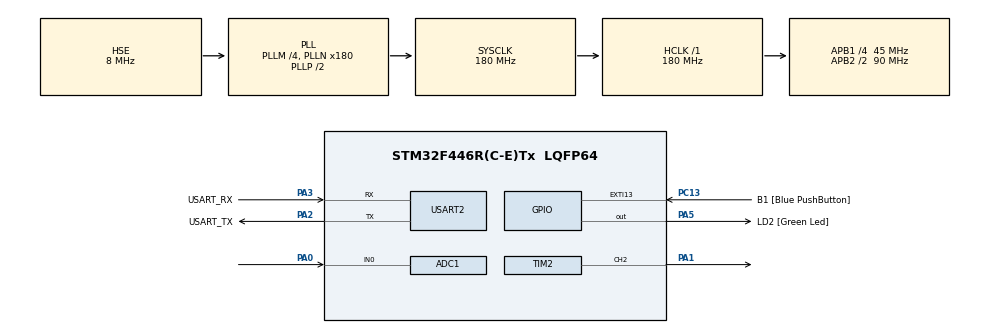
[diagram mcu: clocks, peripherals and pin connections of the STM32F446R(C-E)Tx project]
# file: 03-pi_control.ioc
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ADC1.Channel-0\#ChannelRegularConversion=ADC_CHANNEL_0
ADC1.ClockPrescaler=ADC_CLOCK_SYNC_PCLK_DIV8
ADC1.ContinuousConvMode=ENABLE
ADC1.NbrOfConversionFlag=1
ADC1.Rank-0\#ChannelRegularConversion=1
ADC1.SamplingTime-0\#ChannelRegularConversion=ADC_SAMPLETIME_3CYCLES
ADC1.master=1
Dma.Request0=USART2_TX
Dma.USART2_TX.0.Direction=DMA_MEMORY_TO_PERIPH
Dma.USART2_TX.0.FIFOMode=DMA_FIFOMODE_DISABLE
Dma.USART2_TX.0.Instance=DMA1_Stream6
Dma.USART2_TX.0.MemDataAlignment=DMA_MDATAALIGN_BYTE
Dma.USART2_TX.0.MemInc=DMA_MINC_ENABLE
Dma.USART2_TX.0.Mode=DMA_NORMAL
Dma.USART2_TX.0.PeriphDataAlignment=DMA_PDATAALIGN_BYTE
Dma.USART2_TX.0.PeriphInc=DMA_PINC_DISABLE
Dma.USART2_TX.0.Priority=DMA_PRIORITY_LOW
Mcu.Family=STM32F4
Mcu.Name=STM32F446R(C-E)Tx
Mcu.Package=LQFP64
NVIC.DMA1_Stream6_IRQn=true\:0\:0\:false\:false\:true\:false\:true\:true
NVIC.PriorityGroup=NVIC_PRIORITYGROUP_0
NVIC.USART2_IRQn=true\:0\:0\:false\:false\:true\:true\:true\:true
PA0-WKUP.Signal=ADCx_IN0
PA1.Signal=S_TIM2_CH2
PA13.GPIO_Label=TMS
PA13.Mode=Serial_Wire
PA13.Signal=SYS_JTMS-SWDIO
PA14.GPIO_Label=TCK
PA14.Mode=Serial_Wire
PA14.Signal=SYS_JTCK-SWCLK
PA2.GPIO_Label=USART_TX
PA2.Mode=Asynchronous
PA2.Signal=USART2_TX
PA3.GPIO_Label=USART_RX
PA3.Mode=Asynchronous
PA3.Signal=USART2_RX
PA5.GPIO_Label=LD2 [Green Led]
PA5.Signal=GPIO_Output
PB3.GPIO_Label=SWO
PB3.Signal=SYS_JTDO-SWO
PC13.GPIO_Label=B1 [Blue PushButton]
PC13.GPIO_ModeDefaultEXTI=GPIO_MODE_IT_FALLING
PC13.Signal=GPXTI13
PC14-OSC32_IN.Signal=RCC_OSC32_IN
PC15-OSC32_OUT.Signal=RCC_OSC32_OUT
PH0-OSC_IN.Mode=HSE-External-Oscillator
PH0-OSC_IN.Signal=RCC_OSC_IN
PH1-OSC_OUT.Mode=HSE-External-Oscillator
PH1-OSC_OUT.Signal=RCC_OSC_OUT
ProjectManager.HeapSize=0x200
ProjectManager.StackSize=0x400
ProjectManager.TargetToolchain=CMake
RCC.AHBFreq_Value=180000000
RCC.APB1CLKDivider=RCC_HCLK_DIV4
RCC.APB1Freq_Value=45000000
RCC.APB1TimFreq_Value=90000000
RCC.APB2CLKDivider=RCC_HCLK_DIV2
RCC.APB2Freq_Value=90000000
RCC.APB2TimFreq_Value=180000000
RCC.CortexFreq_Value=180000000
RCC.FLatency-AdvancedSettings=FLASH_LATENCY_5
RCC.HCLKFreq_Value=180000000
RCC.HSE_VALUE=8000000
RCC.HSI_VALUE=16000000
RCC.LSE_VALUE=32768
RCC.PLLM=4
RCC.PLLN=180
RCC.PLLSourceVirtual=RCC_PLLSOURCE_HSE
RCC.SYSCLKFreq_VALUE=180000000
RCC.SYSCLKSource=RCC_SYSCLKSOURCE_PLLCLK
RCC.USBFreq_Value=180000000
RCC.VCOOutputFreq_Value=360000000
SH.ADCx_IN0.0=ADC1_IN0,IN0
SH.S_TIM2_CH2.0=TIM2_CH2,PWM Generation2 CH2
TIM2.Channel-PWM\ Generation2\ CH2=TIM_CHANNEL_2
TIM2.Period=100-1
TIM2.Prescaler=90-1
TIM2.Pulse-PWM\ Generation2\ CH2=50
USART2.VirtualMode=VM_ASYNC
board=NUCLEO-F446RE

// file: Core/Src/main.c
/* USER CODE BEGIN Header */
/**
  ******************************************************************************
  * @file           : main.c
  * @brief          : Main program body
  ******************************************************************************
  * @attention
  *
  * Copyright (c) 2025 STMicroelectronics.
  * All rights reserved.
  *
  * This software is licensed under terms that can be found in the LICENSE file
  * in the root directory of this software component.
  * If no LICENSE file comes with this software, it is provided AS-IS.
  *
  ******************************************************************************
  */
/* USER CODE END Header */
#include "main.h"

/* USER CODE BEGIN Includes */
#include "photocell.h"
#include "led_pwm.h"
#include "logger.h"

/* USER CODE END Includes */

ADC_HandleTypeDef hadc1;

TIM_HandleTypeDef htim2;

UART_HandleTypeDef huart2;
DMA_HandleTypeDef hdma_usart2_tx;

void SystemClock_Config(void);
static void MX_GPIO_Init(void);
static void MX_DMA_Init(void);
static void MX_ADC1_Init(void);
static void MX_TIM2_Init(void);
static void MX_USART2_UART_Init(void);

/* USER CODE BEGIN 0 */
photoCell_t photocell_sensor;
LedPwm_t led_pwm = {
    .htim = &htim2,
    .channel = TIM_CHANNEL_2,
    .duty_percent = 0
};

void set_pwm_function(uint8_t brightness) {
    // Example function to set PWM brightness
    LedPwm_setDuty(&led_pwm, brightness);
}

/* USER CODE END 0 */

int main(void)
{

  /* MCU Configuration--------------------------------------------------------*/

  /* Reset of all peripherals, Initializes the Flash interface and the Systick. */
  HAL_Init();

  /* Configure the system clock */
  SystemClock_Config();

  /* Initialize all configured peripherals */
  MX_GPIO_Init();
  MX_DMA_Init();
  MX_ADC1_Init();
  MX_TIM2_Init();
  MX_USART2_UART_Init();
  /* USER CODE BEGIN 2 */

  Log_Init();  // Initialize logging system
  Log_SetLevel(LOG_LEVEL_DEBUG);  // Set log level to DEBUG

  LedPwm_init(&led_pwm, &htim2, TIM_CHANNEL_2);
  LedPwm_start(&led_pwm);
  Log(LOG_LEVEL_INFO, "LED PWM initialized on TIM2 channel 2\n");
  Log(LOG_LEVEL_INFO, "System initialized. Starting photocell calibration...\n");

  photoCell_init(&photocell_sensor, true, 0, 4095);
  photoCell_autoCalibrate(&photocell_sensor, &hadc1, set_pwm_function);
  Log(LOG_LEVEL_INFO, "Photocell initialized and calibrated. Min: %d, Max: %d\n",
      photocell_sensor.min_value, photocell_sensor.max_value);
  Log(LOG_LEVEL_INFO, "Starting main loop...\n");

  /* USER CODE END 2 */

  /* Infinite loop */
  while (1)
  {

    /* USER CODE BEGIN 3 */

    // Set to 25, 50, 75, 100% duty cycle in a loop and log the photocell reading
    for (uint8_t duty = 0; duty <= 100; duty += 25) {
        LedPwm_setDuty(&led_pwm, duty);
        HAL_Delay(500);  // Allow time for LED to stabilize

        uint8_t light_level = readSensor(&photocell_sensor, &hadc1);
        Log(LOG_LEVEL_INFO, "Duty: %d%%, Light Level: %d\n", duty, light_level);
    }

    if (HAL_GPIO_ReadPin(B1_GPIO_Port, B1_Pin) == GPIO_PIN_SET) {
        Log(LOG_LEVEL_INFO, "Button pressed, toggling LED state.\n");
        HAL_GPIO_TogglePin(LD2_GPIO_Port, LD2_Pin);  // Toggle LED state
        HAL_Delay(500);  // Debounce delay
    }
  }
  /* USER CODE END 3 */
}

void SystemClock_Config(void)
{
  RCC_OscInitTypeDef RCC_OscInitStruct = {0};
  RCC_ClkInitTypeDef RCC_ClkInitStruct = {0};

  /** Configure the main internal regulator output voltage
  */
  __HAL_RCC_PWR_CLK_ENABLE();
  __HAL_PWR_VOLTAGESCALING_CONFIG(PWR_REGULATOR_VOLTAGE_SCALE1);

  /** Initializes the RCC Oscillators according to the specified parameters
  * in the RCC_OscInitTypeDef structure.
  */
  RCC_OscInitStruct.OscillatorType = RCC_OSCILLATORTYPE_HSE;
  RCC_OscInitStruct.HSEState = RCC_HSE_ON;
  RCC_OscInitStruct.PLL.PLLState = RCC_PLL_ON;
  RCC_OscInitStruct.PLL.PLLSource = RCC_PLLSOURCE_HSE;
  RCC_OscInitStruct.PLL.PLLM = 4;
  RCC_OscInitStruct.PLL.PLLN = 180;
  RCC_OscInitStruct.PLL.PLLP = RCC_PLLP_DIV2;
  RCC_OscInitStruct.PLL.PLLQ = 2;
  RCC_OscInitStruct.PLL.PLLR = 2;
  if (HAL_RCC_OscConfig(&RCC_OscInitStruct) != HAL_OK)
  {
    Error_Handler();
  }

  /** Activate the Over-Drive mode
  */
  if (HAL_PWREx_EnableOverDrive() != HAL_OK)
  {
    Error_Handler();
  }

  /** Initializes the CPU, AHB and APB buses clocks
  */
  RCC_ClkInitStruct.ClockType = RCC_CLOCKTYPE_HCLK|RCC_CLOCKTYPE_SYSCLK
                              |RCC_CLOCKTYPE_PCLK1|RCC_CLOCKTYPE_PCLK2;
  RCC_ClkInitStruct.SYSCLKSource = RCC_SYSCLKSOURCE_PLLCLK;
  RCC_ClkInitStruct.AHBCLKDivider = RCC_SYSCLK_DIV1;
  RCC_ClkInitStruct.APB1CLKDivider = RCC_HCLK_DIV4;
  RCC_ClkInitStruct.APB2CLKDivider = RCC_HCLK_DIV2;

  if (HAL_RCC_ClockConfig(&RCC_ClkInitStruct, FLASH_LATENCY_5) != HAL_OK)
  {
    Error_Handler();
  }
}

static void MX_ADC1_Init(void)
{

  ADC_ChannelConfTypeDef sConfig = {0};

  /** Configure the global features of the ADC (Clock, Resolution, Data Alignment and number of conversion)
  */
  hadc1.Instance = ADC1;
  hadc1.Init.ClockPrescaler = ADC_CLOCK_SYNC_PCLK_DIV8;
  hadc1.Init.Resolution = ADC_RESOLUTION_12B;
  hadc1.Init.ScanConvMode = DISABLE;
  hadc1.Init.ContinuousConvMode = ENABLE;
  hadc1.Init.DiscontinuousConvMode = DISABLE;
  hadc1.Init.ExternalTrigConvEdge = ADC_EXTERNALTRIGCONVEDGE_NONE;
  hadc1.Init.ExternalTrigConv = ADC_SOFTWARE_START;
  hadc1.Init.DataAlign = ADC_DATAALIGN_RIGHT;
  hadc1.Init.NbrOfConversion = 1;
  hadc1.Init.DMAContinuousRequests = DISABLE;
  hadc1.Init.EOCSelection = ADC_EOC_SINGLE_CONV;
  if (HAL_ADC_Init(&hadc1) != HAL_OK)
  {
    Error_Handler();
  }

  /** Configure for the selected ADC regular channel its corresponding rank in the sequencer and its sample time.
  */
  sConfig.Channel = ADC_CHANNEL_0;
  sConfig.Rank = 1;
  sConfig.SamplingTime = ADC_SAMPLETIME_3CYCLES;
  if (HAL_ADC_ConfigChannel(&hadc1, &sConfig) != HAL_OK)
  {
    Error_Handler();
  }

}

static void MX_TIM2_Init(void)
{

  TIM_MasterConfigTypeDef sMasterConfig = {0};
  TIM_OC_InitTypeDef sConfigOC = {0};

  htim2.Instance = TIM2;
  htim2.Init.Prescaler = 90-1;
  htim2.Init.CounterMode = TIM_COUNTERMODE_UP;
  htim2.Init.Period = 100-1;
  htim2.Init.ClockDivision = TIM_CLOCKDIVISION_DIV1;
  htim2.Init.AutoReloadPreload = TIM_AUTORELOAD_PRELOAD_DISABLE;
  if (HAL_TIM_PWM_Init(&htim2) != HAL_OK)
  {
    Error_Handler();
  }
  sMasterConfig.MasterOutputTrigger = TIM_TRGO_RESET;
  sMasterConfig.MasterSlaveMode = TIM_MASTERSLAVEMODE_DISABLE;
  if (HAL_TIMEx_MasterConfigSynchronization(&htim2, &sMasterConfig) != HAL_OK)
  {
    Error_Handler();
  }
  sConfigOC.OCMode = TIM_OCMODE_PWM1;
  sConfigOC.Pulse = 50;
  sConfigOC.OCPolarity = TIM_OCPOLARITY_HIGH;
  sConfigOC.OCFastMode = TIM_OCFAST_DISABLE;
  if (HAL_TIM_PWM_ConfigChannel(&htim2, &sConfigOC, TIM_CHANNEL_2) != HAL_OK)
  {
    Error_Handler();
  }
  HAL_TIM_MspPostInit(&htim2);

}

static void MX_USART2_UART_Init(void)
{

  huart2.Instance = USART2;
  huart2.Init.BaudRate = 115200;
  huart2.Init.WordLength = UART_WORDLENGTH_8B;
  huart2.Init.StopBits = UART_STOPBITS_1;
  huart2.Init.Parity = UART_PARITY_NONE;
  huart2.Init.Mode = UART_MODE_TX_RX;
  huart2.Init.HwFlowCtl = UART_HWCONTROL_NONE;
  huart2.Init.OverSampling = UART_OVERSAMPLING_16;
  if (HAL_UART_Init(&huart2) != HAL_OK)
  {
    Error_Handler();
  }

}

static void MX_DMA_Init(void)
{

  /* DMA controller clock enable */
  __HAL_RCC_DMA1_CLK_ENABLE();

  /* DMA interrupt init */
  /* DMA1_Stream6_IRQn interrupt configuration */
  HAL_NVIC_SetPriority(DMA1_Stream6_IRQn, 0, 0);
  HAL_NVIC_EnableIRQ(DMA1_Stream6_IRQn);

}

static void MX_GPIO_Init(void)
{
  GPIO_InitTypeDef GPIO_InitStruct = {0};

  /* GPIO Ports Clock Enable */
  __HAL_RCC_GPIOC_CLK_ENABLE();
  __HAL_RCC_GPIOH_CLK_ENABLE();
  __HAL_RCC_GPIOA_CLK_ENABLE();
  __HAL_RCC_GPIOB_CLK_ENABLE();

  /*Configure GPIO pin Output Level */
  HAL_GPIO_WritePin(LD2_GPIO_Port, LD2_Pin, GPIO_PIN_RESET);

  /*Configure GPIO pin : B1_Pin */
  GPIO_InitStruct.Pin = B1_Pin;
  GPIO_InitStruct.Mode = GPIO_MODE_IT_FALLING;
  GPIO_InitStruct.Pull = GPIO_NOPULL;
  HAL_GPIO_Init(B1_GPIO_Port, &GPIO_InitStruct);

  /*Configure GPIO pin : LD2_Pin */
  GPIO_InitStruct.Pin = LD2_Pin;
  GPIO_InitStruct.Mode = GPIO_MODE_OUTPUT_PP;
  GPIO_InitStruct.Pull = GPIO_NOPULL;
  GPIO_InitStruct.Speed = GPIO_SPEED_FREQ_LOW;
  HAL_GPIO_Init(LD2_GPIO_Port, &GPIO_InitStruct);

}

void Error_Handler(void)
{
  __disable_irq();
  while (1)
  {
  }
}
